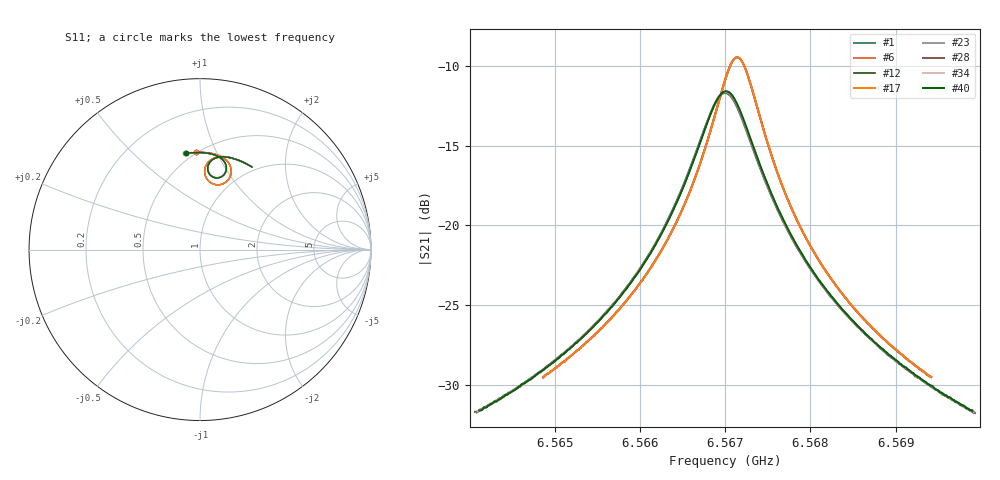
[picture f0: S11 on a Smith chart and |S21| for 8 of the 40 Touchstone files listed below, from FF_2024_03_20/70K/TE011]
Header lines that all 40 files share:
#  HZ  S  RI  R  50.00
! Rohde & Schwarz Vector Network Analyzer
! Rohde-Schwarz,ZNB20-2Port,1311601062101988,3.16
! freq[Hz]  re:S11  im:S11  re:S21  im:S21  re:S12  im:S12  re:S22  im:S22
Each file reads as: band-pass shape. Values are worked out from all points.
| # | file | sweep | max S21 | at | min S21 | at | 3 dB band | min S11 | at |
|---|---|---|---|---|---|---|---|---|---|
| 1 | 0_1_68.4996_70.0168915_0.496_1.2091169357299805_.s2p | 6.564861 GHz to 6.569418 GHz | -9.48 dB | 6.567139 GHz | -29.5 dB | 6.564861 GHz | 6.566923 GHz-6.567356 GHz | -8.2 dB | 6.567139 GHz |
| 2 | 0_1_68.5002_70.0413284_67185.75_1.208184003829956_.s2p | 6.564047 GHz to 6.569941 GHz | -11.75 dB | 6.566994 GHz | -31.8 dB | 6.569941 GHz | 6.566714 GHz-6.567289 GHz | -7.3 dB | 6.566994 GHz |
| 3 | 1_1_68.5_70.0366745_66946.531_3.6359310150146484_.s2p | 6.56405 GHz to 6.569939 GHz | -11.74 dB | 6.566994 GHz | -31.8 dB | 6.564065 GHz | 6.566715 GHz-6.567274 GHz | -7.3 dB | 6.566994 GHz |
| 4 | 1_1_68.4992_70.0194931_0.496_3.650622606277466_.s2p | 6.564862 GHz to 6.569416 GHz | -9.48 dB | 6.567139 GHz | -29.5 dB | 6.569416 GHz | 6.566923 GHz-6.567367 GHz | -8.2 dB | 6.567139 GHz |
| 5 | 2_1_68.4997_70.0382309_66696.969_6.0569305419921875_.s2p | 6.564057 GHz to 6.569933 GHz | -11.73 dB | 6.566995 GHz | -31.8 dB | 6.564057 GHz | 6.566716 GHz-6.567289 GHz | -7.3 dB | 6.566995 GHz |
| 6 | 2_1_68.5004_70.0176468_0.496_6.072927474975586_.s2p | 6.564861 GHz to 6.569417 GHz | -9.48 dB | 6.567139 GHz | -29.5 dB | 6.569417 GHz | 6.566923 GHz-6.567367 GHz | -8.2 dB | 6.567139 GHz |
| 7 | 3_1_68.5_70.0358429_66457.047_8.49225378036499_.s2p | 6.564056 GHz to 6.569935 GHz | -11.72 dB | 6.566996 GHz | -31.7 dB | 6.569935 GHz | 6.566716 GHz-6.56729 GHz | -7.3 dB | 6.566996 GHz |
| 8 | 3_1_68.4994_70.0147095_0.346_8.484740495681763_.s2p | 6.564863 GHz to 6.569416 GHz | -9.47 dB | 6.56714 GHz | -29.5 dB | 6.569405 GHz | 6.566923 GHz-6.567367 GHz | -8.2 dB | 6.56714 GHz |
| 9 | 4_1_68.4998_70.013298_0.331_10.919945478439331_.s2p | 6.564863 GHz to 6.569417 GHz | -9.48 dB | 6.56714 GHz | -29.5 dB | 6.569417 GHz | 6.566924 GHz-6.567368 GHz | -8.2 dB | 6.56714 GHz |
| 10 | 4_1_68.5004_70.0358429_66187.461_10.931511640548706_.s2p | 6.564059 GHz to 6.569934 GHz | -11.72 dB | 6.566996 GHz | -31.8 dB | 6.564059 GHz | 6.566717 GHz-6.56729 GHz | -7.3 dB | 6.566996 GHz |
| 11 | 5_1_68.499_70.0140533_0.361_13.341572999954224_.s2p | 6.564863 GHz to 6.569418 GHz | -9.48 dB | 6.56714 GHz | -29.5 dB | 6.564863 GHz | 6.566912 GHz-6.567368 GHz | -8.2 dB | 6.56714 GHz |
| 12 | 5_1_68.5004_70.0373611_65967.594_13.500858306884766_.s2p | 6.564062 GHz to 6.569931 GHz | -11.71 dB | 6.566997 GHz | -31.7 dB | 6.569931 GHz | 6.566718 GHz-6.56729 GHz | -7.3 dB | 6.566997 GHz |
| 13 | 6_1_68.5_70.0403976_65738.32_15.914154291152954_.s2p | 6.564069 GHz to 6.569927 GHz | -11.70 dB | 6.566998 GHz | -31.7 dB | 6.569927 GHz | 6.566719 GHz-6.567291 GHz | -7.3 dB | 6.566998 GHz |
| 14 | 6_1_68.5006_70.0147095_0.331_15.949958324432373_.s2p | 6.564861 GHz to 6.569419 GHz | -9.48 dB | 6.56714 GHz | -29.5 dB | 6.569419 GHz | 6.566924 GHz-6.567368 GHz | -8.2 dB | 6.56714 GHz |
| 15 | 7_1_68.5_70.0162201_0.301_18.3554744720459_.s2p | 6.564861 GHz to 6.56942 GHz | -9.47 dB | 6.56714 GHz | -29.5 dB | 6.56942 GHz | 6.566924 GHz-6.567357 GHz | -8.2 dB | 6.56714 GHz |
| 16 | 7_1_68.5006_70.0387726_65478.223_18.346781492233276_.s2p | 6.564069 GHz to 6.569927 GHz | -11.70 dB | 6.566998 GHz | -31.7 dB | 6.564069 GHz | 6.56672 GHz-6.567291 GHz | -7.3 dB | 6.566998 GHz |
| 17 | 8_1_68.5001_70.0161133_0.316_20.789867162704468_.s2p | 6.564864 GHz to 6.569417 GHz | -9.47 dB | 6.56714 GHz | -29.5 dB | 6.564864 GHz | 6.566924 GHz-6.567368 GHz | -8.2 dB | 6.56714 GHz |
| 18 | 8_1_68.5002_70.0422363_65229.125_20.78250217437744_.s2p | 6.564071 GHz to 6.569927 GHz | -11.69 dB | 6.566999 GHz | -31.7 dB | 6.569927 GHz | 6.566721 GHz-6.567277 GHz | -7.3 dB | 6.566999 GHz |
| 19 | 9_1_68.5003_70.0436401_64999.477_23.21651577949524_.s2p | 6.564077 GHz to 6.569922 GHz | -11.68 dB | 6.566999 GHz | -31.7 dB | 6.569922 GHz | 6.566722 GHz-6.567292 GHz | -7.3 dB | 6.566999 GHz |
| 20 | 9_1_68.5005_70.0176315_0.346_23.18900418281555_.s2p | 6.564864 GHz to 6.569418 GHz | -9.48 dB | 6.567141 GHz | -29.5 dB | 6.569418 GHz | 6.566913 GHz-6.567368 GHz | -8.2 dB | 6.567141 GHz |
| 21 | 10_1_68.5002_70.0433121_64729.898_25.655762195587158_.s2p | 6.564079 GHz to 6.569922 GHz | -11.68 dB | 6.567 GHz | -31.7 dB | 6.569922 GHz | 6.566723 GHz-6.567292 GHz | -7.3 dB | 6.567 GHz |
| 22 | 10_1_68.5003_70.0183868_0.361_25.62367868423462_.s2p | 6.564862 GHz to 6.569419 GHz | -9.47 dB | 6.567141 GHz | -29.5 dB | 6.564862 GHz | 6.566924 GHz-6.567369 GHz | -8.2 dB | 6.567141 GHz |
| 23 | 11_1_68.4996_70.0396347_64500.027_28.062806844711304_.s2p | 6.56408 GHz to 6.569921 GHz | -11.67 dB | 6.567001 GHz | -31.7 dB | 6.569907 GHz | 6.566723 GHz-6.567293 GHz | -7.3 dB | 6.567001 GHz |
| 24 | 11_1_68.5007_70.02034_7.442_28.03909969329834_.s2p | 6.564863 GHz to 6.569419 GHz | -9.48 dB | 6.567141 GHz | -29.5 dB | 6.569419 GHz | 6.566925 GHz-6.567369 GHz | -8.2 dB | 6.567141 GHz |
| 25 | 12_1_68.4999_70.039856_64259.984_30.469134092330933_.s2p | 6.564085 GHz to 6.569918 GHz | -11.66 dB | 6.567002 GHz | -31.7 dB | 6.564085 GHz | 6.566725 GHz-6.567293 GHz | -7.3 dB | 6.567002 GHz |
| 26 | 12_1_68.5008_70.0177383_186.282_30.48016119003296_.s2p | 6.564862 GHz to 6.569421 GHz | -9.48 dB | 6.567141 GHz | -29.5 dB | 6.569421 GHz | 6.566925 GHz-6.567369 GHz | -8.2 dB | 6.567141 GHz |
| 27 | 13_1_68.5002_70.0164413_422.561_32.89128851890564_.s2p | 6.564861 GHz to 6.569422 GHz | -9.48 dB | 6.567142 GHz | -29.5 dB | 6.569422 GHz | 6.566925 GHz-6.56737 GHz | -8.2 dB | 6.567142 GHz |
| 28 | 13_1_68.5002_70.0406113_64040.805_32.884597063064575_.s2p | 6.564088 GHz to 6.569917 GHz | -11.65 dB | 6.567002 GHz | -31.7 dB | 6.569917 GHz | 6.566725 GHz-6.567294 GHz | -7.3 dB | 6.567002 GHz |
| 29 | 14_1_68.4995_70.0161133_670.715_35.28622341156006_.s2p | 6.564864 GHz to 6.56942 GHz | -9.48 dB | 6.567142 GHz | -29.5 dB | 6.564864 GHz | 6.566926 GHz-6.56737 GHz | -8.2 dB | 6.567142 GHz |
| 30 | 14_1_68.5004_70.045372_63760.223_35.41118359565735_.s2p | 6.564089 GHz to 6.569916 GHz | -11.65 dB | 6.567003 GHz | -31.7 dB | 6.569916 GHz | 6.566726 GHz-6.567294 GHz | -7.3 dB | 6.567003 GHz |
| 31 | 15_1_68.4996_70.0202332_917.567_37.73055815696716_.s2p | 6.564867 GHz to 6.569418 GHz | -9.48 dB | 6.567143 GHz | -29.5 dB | 6.564867 GHz | 6.566915 GHz-6.56737 GHz | -8.2 dB | 6.567143 GHz |
| 32 | 15_1_68.4999_70.0448303_63530.742_37.817840576171875_.s2p | 6.564091 GHz to 6.569916 GHz | -11.64 dB | 6.567003 GHz | -31.7 dB | 6.569916 GHz | 6.566727 GHz-6.567295 GHz | -7.3 dB | 6.567003 GHz |
| 33 | 16_1_68.5_70.0197983_1146.426_40.14129042625427_.s2p | 6.564863 GHz to 6.569422 GHz | -9.49 dB | 6.567142 GHz | -29.5 dB | 6.569422 GHz | 6.566915 GHz-6.56737 GHz | -8.2 dB | 6.567142 GHz |
| 34 | 16_1_68.5002_70.0451584_63290.996_40.217610359191895_.s2p | 6.564093 GHz to 6.569915 GHz | -11.63 dB | 6.567004 GHz | -31.7 dB | 6.569915 GHz | 6.566727 GHz-6.567295 GHz | -7.3 dB | 6.567004 GHz |
| 35 | 17_1_68.4987_70.0430984_63051.832_42.61438512802124_.s2p | 6.564094 GHz to 6.569916 GHz | -11.63 dB | 6.567005 GHz | -31.7 dB | 6.569916 GHz | 6.566728 GHz-6.567296 GHz | -7.3 dB | 6.567005 GHz |
| 36 | 17_1_68.4999_70.0171967_1395.096_42.57974672317505_.s2p | 6.564862 GHz to 6.569423 GHz | -9.50 dB | 6.567143 GHz | -29.5 dB | 6.569423 GHz | 6.566914 GHz-6.567359 GHz | -8.2 dB | 6.567143 GHz |
| 37 | 18_1_68.5_70.0183868_1642.805_44.99275231361389_.s2p | 6.56486 GHz to 6.569424 GHz | -9.52 dB | 6.567142 GHz | -29.5 dB | 6.569424 GHz | 6.566914 GHz-6.56737 GHz | -8.1 dB | 6.567142 GHz |
| 38 | 18_1_68.5005_70.0461349_62162.848_51.179927825927734_.s2p | 6.564097 GHz to 6.569914 GHz | -11.60 dB | 6.567006 GHz | -31.7 dB | 6.564097 GHz | 6.566729 GHz-6.567296 GHz | -7.3 dB | 6.567006 GHz |
| 39 | 19_1_68.4999_70.0192566_1877.73_47.450395584106445_.s2p | 6.564854 GHz to 6.569429 GHz | -9.53 dB | 6.567141 GHz | -29.5 dB | 6.564854 GHz | 6.566913 GHz-6.567359 GHz | -8.1 dB | 6.567141 GHz |
| 40 | 19_1_68.5004_70.0449371_61943.031_53.61100387573242_.s2p | 6.564114 GHz to 6.569901 GHz | -11.60 dB | 6.567008 GHz | -31.6 dB | 6.569901 GHz | 6.566733 GHz-6.567297 GHz | -7.3 dB | 6.567008 GHz |
